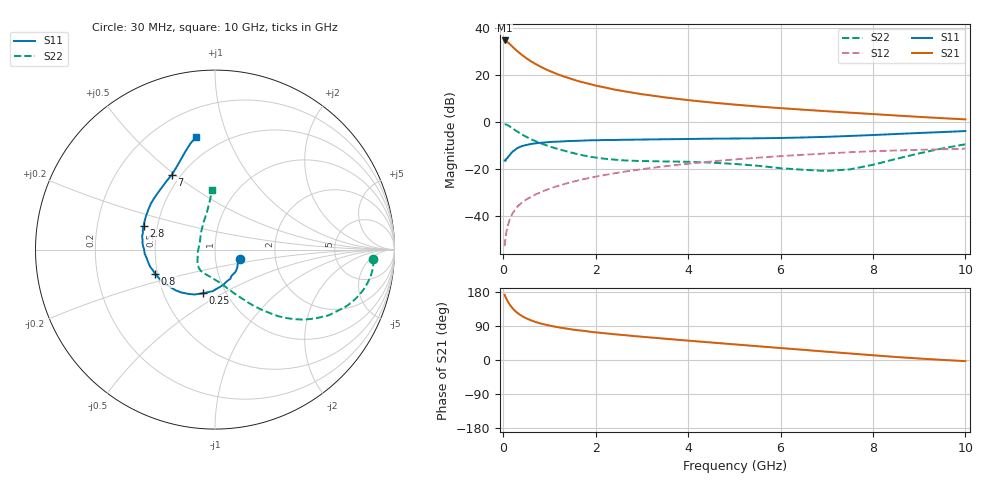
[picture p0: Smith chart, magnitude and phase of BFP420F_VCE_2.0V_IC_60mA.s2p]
! Infineon Technologies  Discrete & RF Semiconductors
! BFP420F
! VCE =  2.0 V,  IC =  60 mA
! Common Emitter S-Parameters:  Sep 2011
# GHz  S  MA  R  50
!  f  S11  S21  S12  S22
! GHz  MAG  ANG  MAG  ANG  MAG  ANG  MAG  ANG
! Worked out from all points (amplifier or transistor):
!   54 points, 30 MHz to 10 GHz, reference 50 ohm
!   highest |S21| = 34.6 dB at 30 MHz (marker M1)
!   |S21| within 3 dB of that: start of sweep to 218.9 MHz
!   unconditionally stable (mu >= 1): 1.077 GHz to end of sweep
!   at 120 MHz: K = 0.51, MSG = 38.1 dB, |S12| = -42.7 dB
!   at 1.3 GHz: K = 1.05, MAG = 21.5 dB, |S12| = -26.5 dB
!   at 10 GHz: K = 1.23, MAG = 3.3 dB, |S12| = -11.4 dB
!   S11 on the Smith chart (normalised r, x): 30 MHz: 1.32, -0.15; 250 MHz: 0.78, -0.41; 800 MHz: 0.49, -0.15; 2.8 GHz: 0.42, +0.13; 7 GHz: 0.45, +0.49; 10 GHz: 0.37, +0.78
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0.03  0.1516 -21.2  53.48 172.0  0.0023 93.8  0.8835 -3.4
0.04  0.152 -27.2  53.17 169.3  0.0029 89.5  0.8856 -5.5
0.05  0.1494 -32.0  52.25 166.3  0.0034 87.4  0.8841 -7.7
0.07  0.1655 -44.3  51.27 161.5  0.0046 81.4  0.8728 -11.6
0.1  0.175 -59.2  48.79 154.4  0.0063 80.3  0.8467 -16.8
0.12  0.1873 -68.2  46.82 150.1  0.0073 78.3  0.8251 -19.9
0.15  0.2038 -78.5  43.86 144.6  0.009 77.5  0.7896 -24.1
0.2  0.2318 -93.1  39.44 136.9  0.0113 74.9  0.7321 -30.0
0.25  0.2528 -105.6  35.41 130.4  0.0134 73.1  0.6763 -34.6
0.3  0.2755 -114.7  32.17 125.0  0.0156 71.3  0.6281 -38.4
0.35  0.2907 -122.3  29.17 120.4  0.0175 70.2  0.5831 -41.6
0.45  0.3155 -134.0  24.46 112.9  0.0209 69.1  0.5115 -46.5
0.6  0.3393 -146.7  19.32 104.7  0.0256 68.4  0.4284 -51.9
0.8  0.3595 -157.8  14.97 96.6  0.0318 68.3  0.3548 -57.4
1.2  0.3815 -171.6  10.04 86.1  0.0442 68.0  0.2629 -66.8
1.7  0.4 177.7  7.015 77.5  0.0594 66.9  0.1971 -78.5
2.8  0.4188 162.0  4.166 63.5  0.0931 62.1  0.1497 -105.3
3.5  0.4275 154.1  3.312 56.2  0.1143 58.4  0.1447 -117.5
5.5  0.448 135.7  2.125 36.4  0.1735 45.5  0.1173 -146.7
7  0.4816 120.0  1.682 21.9  0.2137 35.0  0.0909 167.8
8.5  0.5531 108.8  1.366 7.9  0.2474 23.8  0.1636 113.2
10  0.6382 99.4  1.13 -3.0  0.2695 14.3  0.3346 92.9
